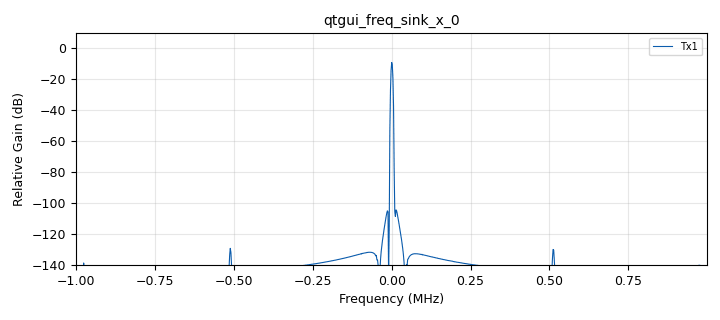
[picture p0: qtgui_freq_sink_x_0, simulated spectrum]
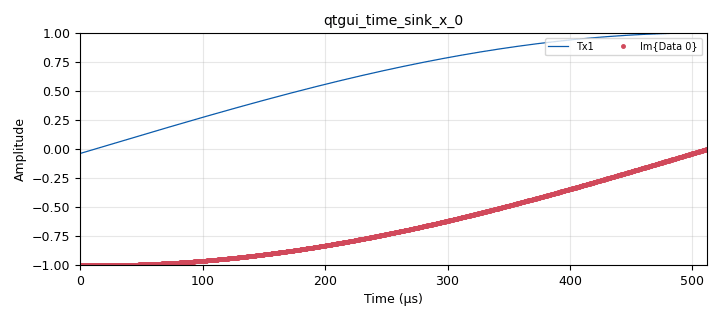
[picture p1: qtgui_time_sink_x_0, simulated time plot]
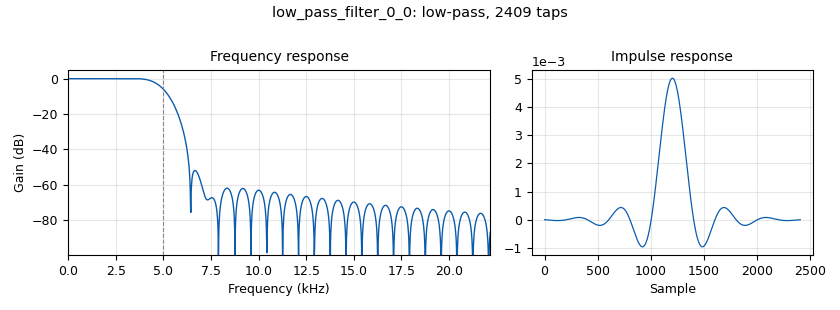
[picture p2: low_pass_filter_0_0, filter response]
options:
  parameters:
    author: Peyton
    generate_options: qt_gui
    id: local_SP_PhaseSync
    output_language: python
    title: Local Single Pluto Phase Sync
  states: {}

blocks:
- name: Rx1_path
  id: variable
  parameters:
    value: '"/home/ubuntu/PlutoSDR/sdr-beamforming/GNURadio/plutoSDR/LocalPhaseSync/fileOutputRx1"'
  states: {}
- name: Rx2_path
  id: variable
  parameters:
    value: '"/home/ubuntu/PlutoSDR/sdr-beamforming/GNURadio/plutoSDR/LocalPhaseSync/fileOutputRx2"'
  states: {}
- name: Tx1_path
  id: variable
  parameters:
    value: '"/home/ubuntu/PlutoSDR/sdr-beamforming/GNURadio/plutoSDR/LocalPhaseSync/fileOutputTx1"'
  states: {}
- name: baseband
  id: variable
  parameters:
    value: '500'
  states: {}
- name: freq
  id: variable
  parameters:
    value: '100000000'
  states: {}
- name: pluto1
  id: variable
  parameters:
    value: '"ip:192.168.2.1"'
  states: {}
- name: samp_rate
  id: variable
  parameters:
    value: '2000000'
  states: {}
- name: analog_sig_source_x_0
  id: analog_sig_source_x
  parameters:
    amp: '1'
    freq: baseband
    offset: '0'
    phase: '0'
    samp_rate: samp_rate
    type: complex
    waveform: analog.GR_COS_WAVE
  states: {}
- name: blocks_file_sink_0
  id: blocks_file_sink
  parameters:
    file: Tx1_path
    type: complex
  states: {}
- name: blocks_file_sink_0_0
  id: blocks_file_sink
  parameters:
    file: Rx2_path
    type: complex
  states: {}
- name: blocks_file_sink_0_1
  id: blocks_file_sink
  parameters:
    file: Rx1_path
    type: complex
  states: {}
- name: iio_fmcomms2_sink_0
  id: iio_fmcomms2_sink
  parameters:
    bandwidth: '20000000'
    buffer_size: '32768'
    cyclic: 'False'
    filter_source: '''Auto'''
    frequency: freq
    rf_port_select: '''A'''
    samplerate: samp_rate
    tx1_en: 'True'
    tx2_en: 'False'
    type: fc32
    uri: pluto1
  states: {}
- name: iio_fmcomms2_source_0
  id: iio_fmcomms2_source
  parameters:
    bandwidth: '20000000'
    bbdc: 'True'
    buffer_size: '32768'
    filter_source: '''Auto'''
    frequency: freq
    gain1: '''slow_attack'''
    gain2: '''slow_attack'''
    quadrature: 'True'
    rf_port_select: '''A_BALANCED'''
    rfdc: 'True'
    rx1_en: 'True'
    rx2_en: 'True'
    samplerate: samp_rate
    type: fc32
    uri: pluto1
  states: {}
- name: low_pass_filter_0_0
  id: low_pass_filter
  parameters:
    cutoff_freq: '5000'
    decim: '1'
    gain: '1'
    samp_rate: samp_rate
    type: fir_filter_ccf
    width: '2000'
    win: window.WIN_HAMMING
  states: {}
- name: low_pass_filter_1
  id: low_pass_filter
  parameters:
    cutoff_freq: '5000'
    decim: '1'
    gain: '1'
    samp_rate: samp_rate
    type: fir_filter_ccf
    width: '2000'
    win: window.WIN_HAMMING
  states: {}
- name: note_0
  id: note
  parameters:
    note: Tx1
  states: {}
- name: note_1
  id: note
  parameters:
    note: Rx1
  states: {}
- name: note_1_0
  id: note
  parameters:
    note: Rx2
  states: {}
- name: qtgui_freq_sink_x_0
  id: qtgui_freq_sink_x
  parameters:
    bw: samp_rate
    color1: '"green"'
    fc: '0'
    fftsize: '1024'
    label1: Tx1
    type: complex
  states: {}
- name: qtgui_freq_sink_x_0_0
  id: qtgui_freq_sink_x
  parameters:
    bw: samp_rate
    fc: '0'
    fftsize: '1024'
    label1: Rx1
    type: complex
  states: {}
- name: qtgui_freq_sink_x_0_0_0
  id: qtgui_freq_sink_x
  parameters:
    bw: samp_rate
    color1: '"red"'
    fc: '0'
    fftsize: '1024'
    label1: Rx2
    type: complex
  states: {}
- name: qtgui_time_sink_x_0
  id: qtgui_time_sink_x
  parameters:
    alpha2: '0'
    color1: green
    label1: Tx1
    label2: ''
    size: '1024'
    srate: samp_rate
    style2: '0'
    type: complex
    width2: '0'
  states: {}
- name: qtgui_time_sink_x_0_0
  id: qtgui_time_sink_x
  parameters:
    alpha2: '0'
    label1: Rx1
    label2: ''
    size: '1024'
    srate: samp_rate
    style2: '0'
    type: complex
    width2: '0'
  states: {}
- name: qtgui_time_sink_x_0_0_0
  id: qtgui_time_sink_x
  parameters:
    alpha2: '0'
    color1: red
    label1: Rx2
    label2: ''
    size: '1024'
    srate: samp_rate
    style2: '0'
    type: complex
    width2: '0'
  states: {}

connections:
- [analog_sig_source_x_0, '0', blocks_file_sink_0, '0']
- [analog_sig_source_x_0, '0', iio_fmcomms2_sink_0, '0']
- [analog_sig_source_x_0, '0', qtgui_freq_sink_x_0, '0']
- [analog_sig_source_x_0, '0', qtgui_time_sink_x_0, '0']
- [iio_fmcomms2_source_0, '0', low_pass_filter_0_0, '0']
- [iio_fmcomms2_source_0, '1', low_pass_filter_1, '0']
- [low_pass_filter_0_0, '0', blocks_file_sink_0_1, '0']
- [low_pass_filter_0_0, '0', qtgui_freq_sink_x_0_0, '0']
- [low_pass_filter_0_0, '0', qtgui_time_sink_x_0_0, '0']
- [low_pass_filter_1, '0', blocks_file_sink_0_0, '0']
- [low_pass_filter_1, '0', qtgui_freq_sink_x_0_0_0, '0']
- [low_pass_filter_1, '0', qtgui_time_sink_x_0_0_0, '0']

metadata:
  file_format: 1
  grc_version: 3.10.7.0
